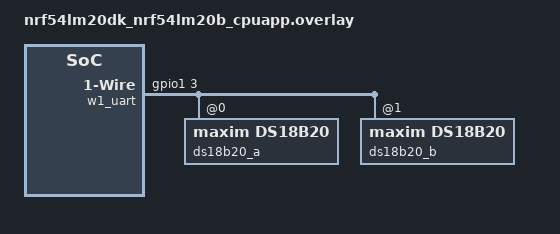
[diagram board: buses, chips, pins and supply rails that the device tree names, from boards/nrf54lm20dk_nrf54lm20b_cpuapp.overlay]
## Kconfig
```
# Kconfig

mainmenu "Define amount of connected devices to 1wire"

config COUNT_CONNECTED_DEVICES
	int "Amount of connected devices to the 1wire"
	default 0
	help
	  This sets the amount of connected devices to the one wire UART.

source "Kconfig.zephyr"
```

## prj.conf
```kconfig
# --- 1-Wire core ---
CONFIG_W1=y
CONFIG_W1_ZEPHYR_SERIAL=y

# --- UART / UARTE ---
CONFIG_SERIAL=y
CONFIG_UART_USE_RUNTIME_CONFIGURE=y   # REQUIRED for 1-Wire baud switching

# --- Sensor subsystem + DS18B20 driver ---
CONFIG_SENSOR=y
CONFIG_DS18B20=y

# --- Float printing (temperature has fractional part) ---
CONFIG_CBPRINTF_FP_SUPPORT=y

# --- Logging ---
CONFIG_LOG=y
CONFIG_PRINTK=y

# Amount of connected devices to the one wire line
CONFIG_COUNT_CONNECTED_DEVICES=1

# ZTest
CONFIG_ZTEST=n

CONFIG_SENSOR_LOG_LEVEL_DBG=y

CONFIG_GPIO=y
CONFIG_W1_ZEPHYR_GPIO=y
```

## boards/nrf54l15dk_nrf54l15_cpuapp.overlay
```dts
#include <zephyr/dt-bindings/pinctrl/nrf-pinctrl.h>
&pinctrl {
    uart21_default: uart21_default {
        group1 {
            psels = <NRF_PSEL(UART_TX, 1, 3)>,
                    <NRF_PSEL(UART_RX, 1, 3)>;
            nordic,drive-mode = <NRF_DRIVE_S0D1>;
        };
    };
    uart21_sleep: uart21_sleep {
        group1 {
            psels = <NRF_PSEL(UART_TX, 1, 3)>,
                    <NRF_PSEL(UART_RX, 1, 3)>;
            low-power-enable;
        };
    };
};
&uart21 {
    status = "okay";

    w1_uart: w1-bus {
        compatible = "zephyr,w1-serial";
        status = "okay";
        #address-cells = <1>;
        #size-cells = <0>;

        ds18b20_a: ds18b20@0 {
            compatible = "maxim,ds18b20";
            reg = <0>;
            resolution = <12>;
            status = "okay";
        };
    };
};
```

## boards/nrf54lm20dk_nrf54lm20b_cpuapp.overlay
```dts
/ {
	w1_uart: w1-gpio {
		compatible = "zephyr,w1-gpio";
		gpios = <&gpio1 3 (GPIO_ACTIVE_HIGH | GPIO_OPEN_DRAIN)>;
		status = "okay";

		#address-cells = <1>;
		#size-cells = <0>;

		ds18b20_a: ds18b20@0 {
			compatible = "maxim,ds18b20";
			reg = <0>;
			resolution = <12>;
			status = "okay";
		};

		ds18b20_b: ds18b20@1 {
			compatible = "maxim,ds18b20";
			reg = <1>;
			resolution = <12>;
			status = "okay";
		};
	};
};
```

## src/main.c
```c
#include <zephyr/kernel.h>
#include <zephyr/device.h>
#include <zephyr/drivers/sensor.h>
#include <zephyr/drivers/sensor/w1_sensor.h>
#include <zephyr/drivers/w1.h>

#define MAX_SENSORS 8

/* Context passed to the search callback */
struct scan_ctx {
	struct w1_rom roms[MAX_SENSORS];
	size_t count;
};

/* Called once per discovered device */
static void search_cb(struct w1_rom rom, void *user_data)
{
	struct scan_ctx *ctx = user_data;

	if (ctx->count < MAX_SENSORS) {
		ctx->roms[ctx->count] = rom;

		printk("Found #%d: %02x%02x%02x%02x%02x%02x%02x%02x\n",
		       (int)ctx->count,
		       rom.family, rom.serial[0], rom.serial[1], rom.serial[2],
		       rom.serial[3], rom.serial[4], rom.serial[5], rom.crc);

		ctx->count++;
	}
}

/* Give a sensor device its ROM so the driver uses Match ROM */
static void set_rom(const struct device *dev, struct w1_rom rom)
{
	struct sensor_value val;

	w1_rom_to_sensor_value(&rom, &val);
	sensor_attr_set(dev, SENSOR_CHAN_ALL, SENSOR_ATTR_W1_ROM, &val);
}

int main(void)
{
	const struct device *bus = DEVICE_DT_GET(DT_NODELABEL(w1_uart));
	const struct device *a   = DEVICE_DT_GET(DT_NODELABEL(ds18b20_a));
	const struct device *b   = DEVICE_DT_GET(DT_NODELABEL(ds18b20_b));

	if (!device_is_ready(bus) || !device_is_ready(a) || !device_is_ready(b)) {
		printk("device(s) not ready\n");
		return 0;
	}

	/* Discover every device on the shared bus */
	struct scan_ctx ctx = { .count = 0 };
	int n = w1_search_rom(bus, search_cb, &ctx);

	printk("Total devices found: %d\n", n);

	// if (ctx.count < 2) {
	// 	printk("Expected 2 sensors, found %d\n", (int)ctx.count);
	// 	return 0;
	// }

	/* Assign discovered ROMs to the two sensor devices */
	set_rom(a, ctx.roms[0]);
	set_rom(b, ctx.roms[1]);


	while (1) {
		struct sensor_value ta, tb;
		int ra, rb;

		ra = sensor_sample_fetch(a);
		if (ra == 0) {
			sensor_channel_get(a, SENSOR_CHAN_AMBIENT_TEMP, &ta);
		}

		rb = sensor_sample_fetch(b);
		if (rb == 0) {
			sensor_channel_get(b, SENSOR_CHAN_AMBIENT_TEMP, &tb);
		}

		if (ra) {
			printk("A fetch failed: %d\n", ra);
		} else {
			printk("A: %d.%06d\n", ta.val1, ta.val2);
		}
		if (rb) {
			printk("B fetch failed: %d\n", rb);
		} else {
			printk("B: %d.%06d\n", tb.val1, tb.val2);
		}

		k_sleep(K_SECONDS(2));
	}

	return 0;
}
```
